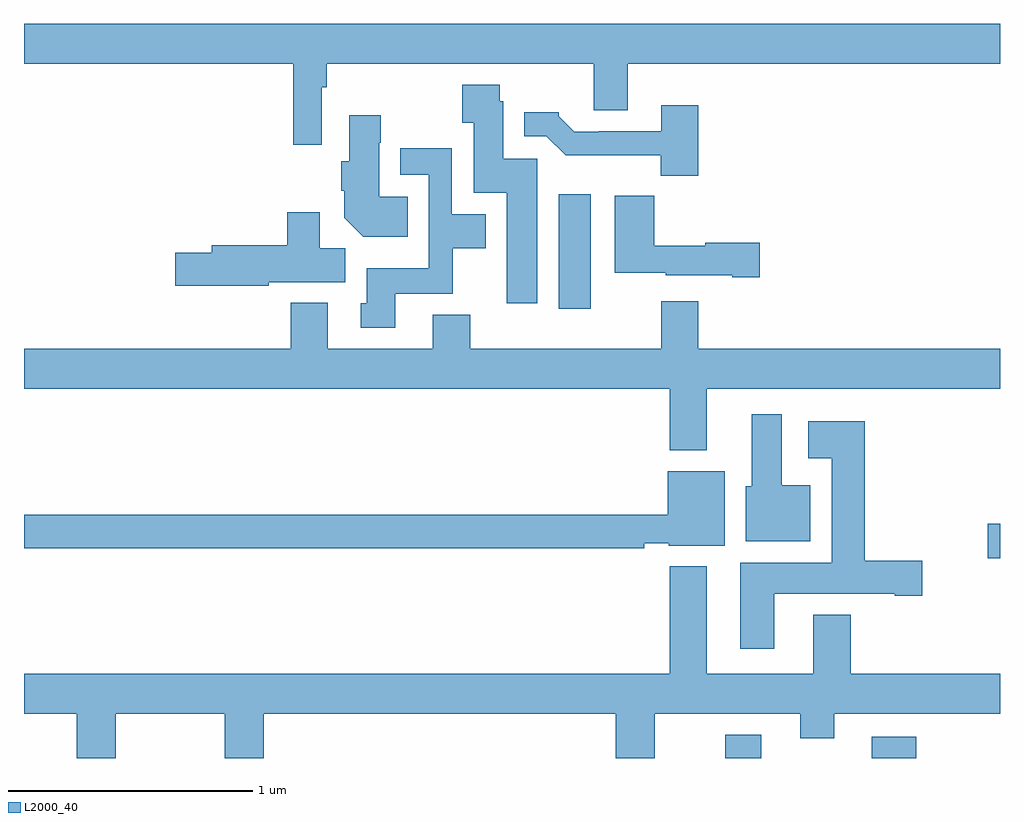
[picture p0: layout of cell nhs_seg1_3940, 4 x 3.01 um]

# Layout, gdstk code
import gdstk
lib = gdstk.Library(unit=1e-6, precision=1e-09)
def R(c, l, rs):  # rectangles x0, y0, x1, y1
    for r in rs: c.add(gdstk.rectangle(r[:2], r[2:], *l))
def P(c, l, *ps):  # polygons
    for p in ps: c.add(gdstk.Polygon(p, *l))
L2000_40 = (2000, 40)

nhs_seg1_3940 = lib.new_cell('nhs_seg1_3940')
R(nhs_seg1_3940, L2000_40, [(327.874,570.199,328.021,570.295), (328.475,570.199,328.657,570.286), (328.95,571.018,329,571.16), (327.191,572.04,327.322,572.509)])
P(nhs_seg1_3940, L2000_40, [(326.22,572.948),(326.24,572.948),(326.24,573.044),(327.335,573.044),(327.335,572.854),(327.475,572.854),(327.475,573.044),(329,573.044),(329,573.208),(325,573.208),(325,573.044),(326.104,573.044),(326.104,572.712),(326.22,572.712)],
  [(327.103,572.655),(326.965,572.655),(326.965,572.892),(326.949,572.892),(326.949,572.959),(326.797,572.959),(326.797,572.803),(326.843,572.803),(326.843,572.516),(326.978,572.516),(326.978,572.064),(327.103,572.064)],
  [(327.764,572.875),(327.611,572.875),(327.611,572.769),(327.355,572.769),(327.355,572.766),(327.256,572.766),(327.192,572.83),(327.192,572.845),(327.05,572.845),(327.05,572.748),(327.141,572.748),(327.22,572.67),(327.609,572.67),(327.609,572.585),(327.764,572.585)],
  [(326.573,572.5),(326.455,572.5),(326.455,572.72),(326.463,572.72),(326.463,572.833),(326.333,572.833),(326.333,572.646),(326.3,572.646),(326.3,572.524),(326.312,572.524),(326.312,572.414),(326.39,572.336),(326.573,572.336)],
  [(326.521,572.102),(326.757,572.102),(326.757,572.288),(326.893,572.288),(326.893,572.428),(326.754,572.428),(326.754,572.698),(326.541,572.698),(326.541,572.589),(326.658,572.589),(326.658,572.206),(326.405,572.206),(326.405,572.064),(326.381,572.064),(326.381,571.962),(326.521,571.962)],
  [(328.015,572.312),(327.792,572.312),(327.792,572.299),(327.584,572.299),(327.584,572.503),(327.422,572.503),(327.422,572.189),(327.63,572.189),(327.63,572.177),(327.902,572.177),(327.902,572.17),(328.015,572.17)],
  [(326.004,572.15),(326.317,572.15),(326.317,572.288),(326.212,572.288),(326.212,572.437),(326.078,572.437),(326.078,572.3),(325.769,572.3),(325.769,572.27),(325.62,572.27),(325.62,572.135),(326.004,572.135)],
  [(326.675,572.017),(326.675,571.876),(326.245,571.876),(326.245,572.065),(326.093,572.065),(326.093,571.876),(325,571.876),(325,571.712),(327.647,571.712),(327.647,571.46),(327.799,571.46),(327.799,571.712),(329,571.712),(329,571.876),(327.764,571.876),(327.764,572.071),(327.611,572.071),(327.611,571.876),(326.828,571.876),(326.828,572.017)],
  [(328.222,571.318),(328.105,571.318),(328.105,571.609),(327.983,571.609),(327.983,571.314),(327.959,571.314),(327.959,571.088),(328.222,571.088)],
  [(328.075,570.872),(328.568,570.872),(328.568,570.865),(328.681,570.865),(328.681,571.007),(328.445,571.007),(328.445,571.579),(328.215,571.579),(328.215,571.427),(328.31,571.427),(328.31,571),(327.935,571),(327.935,570.648),(328.075,570.648)],
  [(327.542,571.08),(327.642,571.08),(327.642,571.07),(327.871,571.07),(327.871,571.375),(327.638,571.375),(327.638,571.196),(325,571.196),(325,571.06),(327.542,571.06)],
  [(328.181,570.281),(328.321,570.281),(328.321,570.38),(329,570.38),(329,570.544),(328.388,570.544),(328.388,570.787),(328.235,570.787),(328.235,570.544),(327.799,570.544),(327.799,570.985),(327.647,570.985),(327.647,570.544),(325,570.544),(325,570.38),(325.217,570.38),(325.217,570.199),(325.377,570.199),(325.377,570.38),(325.822,570.38),(325.822,570.199),(325.982,570.199),(325.982,570.38),(327.425,570.38),(327.425,570.199),(327.585,570.199),(327.585,570.38),(328.181,570.38)])

lib.write_gds('nhs_seg1_3940.gds')
